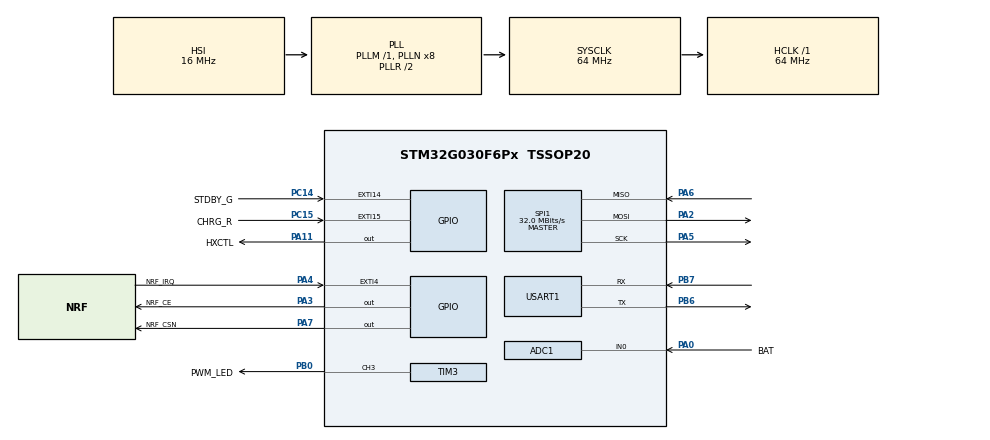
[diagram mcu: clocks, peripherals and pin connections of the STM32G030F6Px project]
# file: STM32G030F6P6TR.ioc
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ADC1.Channel-1\#ChannelRegularConversion=ADC_CHANNEL_0
ADC1.NbrOfConversionFlag=1
ADC1.Rank-1\#ChannelRegularConversion=1
ADC1.SamplingTime-1\#ChannelRegularConversion=ADC_SAMPLINGTIME_COMMON_1
ADC1.SelectedChannel=ADC_CHANNEL_0|ADC_CHANNEL_VREFINT
ADC1.master=1
Dma.Request0=USART1_RX
Dma.USART1_RX.0.Direction=DMA_PERIPH_TO_MEMORY
Dma.USART1_RX.0.EventEnable=DISABLE
Dma.USART1_RX.0.Instance=DMA1_Channel1
Dma.USART1_RX.0.MemDataAlignment=DMA_MDATAALIGN_BYTE
Dma.USART1_RX.0.MemInc=DMA_MINC_ENABLE
Dma.USART1_RX.0.Mode=DMA_CIRCULAR
Dma.USART1_RX.0.PeriphDataAlignment=DMA_PDATAALIGN_BYTE
Dma.USART1_RX.0.PeriphInc=DMA_PINC_DISABLE
Dma.USART1_RX.0.Polarity=HAL_DMAMUX_REQ_GEN_RISING
Dma.USART1_RX.0.Priority=DMA_PRIORITY_LOW
Dma.USART1_RX.0.RequestNumber=1
Dma.USART1_RX.0.SignalID=NONE
Dma.USART1_RX.0.SyncEnable=DISABLE
Dma.USART1_RX.0.SyncPolarity=HAL_DMAMUX_SYNC_NO_EVENT
Dma.USART1_RX.0.SyncRequestNumber=1
Dma.USART1_RX.0.SyncSignalID=NONE
FREERTOS.Tasks01=defaultTask,0,128,StartDefaultTask,Default,NULL,Dynamic,NULL,NULL
Mcu.Family=STM32G0
Mcu.Name=STM32G030F6Px
Mcu.Package=TSSOP20
NVIC.ADC1_IRQn=true\:3\:0\:false\:false\:true\:true\:true\:true\:true
NVIC.DMA1_Channel1_IRQn=true\:3\:0\:false\:false\:true\:true\:false\:true\:true
NVIC.EXTI4_15_IRQn=true\:3\:0\:false\:false\:true\:true\:true\:true\:true
NVIC.TIM16_IRQn=true\:3\:0\:false\:false\:true\:true\:true\:true\:true
NVIC.TIM17_IRQn=true\:3\:0\:false\:false\:true\:true\:true\:true\:true
NVIC.USART1_IRQn=true\:3\:0\:false\:false\:true\:true\:true\:true\:true
PA0.GPIO_Label=BAT
PA0.Mode=IN0
PA0.Signal=ADC1_IN0
PA11\ [PA9].GPIO_Label=HXCTL
PA11\ [PA9].GPIO_PuPd=GPIO_PULLDOWN
PA11\ [PA9].Signal=GPIO_Output
PA13.Mode=Serial_Wire
PA13.Signal=SYS_SWDIO
PA14-BOOT0.Mode=Serial_Wire
PA14-BOOT0.Signal=SYS_SWCLK
PA14-BOOT0__PA15.StandardMode=true
PA2.Mode=Full_Duplex_Master
PA2.Signal=SPI1_MOSI
PA3.GPIO_Label=NRF_CE
PA3.GPIO_PuPd=GPIO_PULLDOWN
PA3.Signal=GPIO_Output
PA4.GPIO_Label=NRF_IRQ
PA4.GPIO_PuPd=GPIO_PULLUP
PA4.Signal=GPXTI4
PA5.Mode=Full_Duplex_Master
PA5.Signal=SPI1_SCK
PA6.Mode=Full_Duplex_Master
PA6.Signal=SPI1_MISO
PA7.GPIO_Label=NRF_CSN
PA7.GPIO_ModeDefaultOutputPP=GPIO_MODE_OUTPUT_PP
PA7.GPIO_PuPd=GPIO_PULLUP
PA7.Signal=GPIO_Output
PB0.GPIO_Label=PWM_LED
PB0.Signal=S_TIM3_CH3
PB0__PB1__PB2__PA8.StandardMode=true
PB3__PB4__PB5__PB6.StandardMode=true
PB6.Mode=Asynchronous
PB6.Signal=USART1_TX
PB7.Mode=Asynchronous
PB7.Signal=USART1_RX
PB7__PB8.StandardMode=true
PC14-OSC32_IN\ (PC14).GPIO_Label=STDBY_G
PC14-OSC32_IN\ (PC14).GPIO_PuPd=GPIO_PULLUP
PC14-OSC32_IN\ (PC14).Signal=GPXTI14
PC14-OSC32_IN\ (PC14)__PB9.StandardMode=true
PC15-OSC32_OUT\ (PC15).GPIO_Label=CHRG_R
PC15-OSC32_OUT\ (PC15).GPIO_PuPd=GPIO_PULLUP
PC15-OSC32_OUT\ (PC15).Signal=GPXTI15
ProjectManager.HeapSize=0x200
ProjectManager.StackSize=0x400
ProjectManager.TargetToolchain=MDK-ARM V5.32
RCC.ADCFreq_Value=64000000
RCC.AHBFreq_Value=64000000
RCC.CortexFreq_Value=64000000
RCC.EXTERNAL_CLOCK_VALUE=12288000
RCC.HCLKFreq_Value=64000000
RCC.HSE_VALUE=8000000
RCC.HSI_VALUE=16000000
RCC.LSE_VALUE=32768
RCC.SYSCLKFreq_VALUE=64000000
RCC.SYSCLKSource=RCC_SYSCLKSOURCE_PLLCLK
RCC.VCOOutputFreq_Value=128000000
SH.S_TIM3_CH3.0=TIM3_CH3,PWM Generation3 CH3
SPI1.CalculateBaudRate=32.0 MBits/s
SPI1.Direction=SPI_DIRECTION_2LINES
SPI1.Mode=SPI_MODE_MASTER
SPI1.VirtualType=VM_MASTER
TIM16.Period=500-1
TIM16.Prescaler=64000-1
TIM17.Period=500-1
TIM17.Prescaler=64000-1
TIM3.Channel-PWM\ Generation3\ CH3=TIM_CHANNEL_3
TIM3.Period=1000
TIM3.Prescaler=17-1
TIM3.Pulse-PWM\ Generation3\ CH3=0
USART1.VirtualMode-Asynchronous=VM_ASYNC
VP_ADC1_Vref_Input.Mode=IN-Vrefint
VP_FREERTOS_VS_CMSIS_V1.Mode=CMSIS_V1
VP_TIM16_VS_ClockSourceINT.Mode=Enable_Timer
VP_TIM17_VS_ClockSourceINT.Mode=Enable_Timer
VP_TIM3_VS_ClockSourceINT.Mode=Internal
board=custom

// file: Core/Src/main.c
/* USER CODE BEGIN Header */
/**
  ******************************************************************************
  * @file           : main.c
  * @brief          : Main program body
  ******************************************************************************
  * @attention
  *
  * Copyright (c) 2023 STMicroelectronics.
  * All rights reserved.
  *
  * This software is licensed under terms that can be found in the LICENSE file
  * in the root directory of this software component.
  * If no LICENSE file comes with this software, it is provided AS-IS.
  *
  ******************************************************************************
  */
/* USER CODE END Header */
#include "main.h"
#include "cmsis_os.h"
#include "adc.h"
#include "dma.h"
#include "spi.h"
#include "tim.h"
#include "usart.h"
#include "gpio.h"

/* USER CODE BEGIN Includes */
#include "../common.h"
/* USER CODE END Includes */

void SystemClock_Config(void);
void MX_FREERTOS_Init(void);

int main(void)
{

  /* MCU Configuration--------------------------------------------------------*/

  /* Reset of all peripherals, Initializes the Flash interface and the Systick. */
  HAL_Init();

  /* Configure the system clock */
  SystemClock_Config();

  /* Initialize all configured peripherals */
  MX_GPIO_Init();
  MX_DMA_Init();
  MX_SPI1_Init();
  MX_USART1_UART_Init();
  MX_ADC1_Init();
  MX_TIM3_Init();
  MX_TIM16_Init();
  MX_TIM17_Init();

  /* Call init function for freertos objects (in freertos.c) */
  MX_FREERTOS_Init();

  /* Start scheduler */
  osKernelStart();

  /* We should never get here as control is now taken by the scheduler */
  /* Infinite loop */
  while (1)
  {

  }
}

void SystemClock_Config(void)
{
  RCC_OscInitTypeDef RCC_OscInitStruct = {0};
  RCC_ClkInitTypeDef RCC_ClkInitStruct = {0};

  /** Configure the main internal regulator output voltage
  */
  HAL_PWREx_ControlVoltageScaling(PWR_REGULATOR_VOLTAGE_SCALE1);

  /** Initializes the RCC Oscillators according to the specified parameters
  * in the RCC_OscInitTypeDef structure.
  */
  RCC_OscInitStruct.OscillatorType = RCC_OSCILLATORTYPE_HSI;
  RCC_OscInitStruct.HSIState = RCC_HSI_ON;
  RCC_OscInitStruct.HSIDiv = RCC_HSI_DIV1;
  RCC_OscInitStruct.HSICalibrationValue = RCC_HSICALIBRATION_DEFAULT;
  RCC_OscInitStruct.PLL.PLLState = RCC_PLL_ON;
  RCC_OscInitStruct.PLL.PLLSource = RCC_PLLSOURCE_HSI;
  RCC_OscInitStruct.PLL.PLLM = RCC_PLLM_DIV1;
  RCC_OscInitStruct.PLL.PLLN = 8;
  RCC_OscInitStruct.PLL.PLLP = RCC_PLLP_DIV2;
  RCC_OscInitStruct.PLL.PLLR = RCC_PLLR_DIV2;
  if (HAL_RCC_OscConfig(&RCC_OscInitStruct) != HAL_OK)
  {
    Error_Handler();
  }

  /** Initializes the CPU, AHB and APB buses clocks
  */
  RCC_ClkInitStruct.ClockType = RCC_CLOCKTYPE_HCLK|RCC_CLOCKTYPE_SYSCLK
                              |RCC_CLOCKTYPE_PCLK1;
  RCC_ClkInitStruct.SYSCLKSource = RCC_SYSCLKSOURCE_PLLCLK;
  RCC_ClkInitStruct.AHBCLKDivider = RCC_SYSCLK_DIV1;
  RCC_ClkInitStruct.APB1CLKDivider = RCC_HCLK_DIV1;

  if (HAL_RCC_ClockConfig(&RCC_ClkInitStruct, FLASH_LATENCY_2) != HAL_OK)
  {
    Error_Handler();
  }
}

/* USER CODE BEGIN 4 */
void HAL_TIM_PeriodElapsedCallback(TIM_HandleTypeDef *htim) {
	BaseType_t phpt;
	if (htim->Instance == TIM16) {
		ir_str.count++;
		if ( ir_str.checkRepet > 0 ) {//计数一次260us 110ms共计数 = 110*1000/260次 = 423.07次 100ms~120ms：384~461次
			ir_str.checkRepet++;
		}
	}
	if (htim->Instance == TIM17) {
//		if ( nrf_str.regSta==1 || nrf_str.regSta==4 ) {//注册/等待注册反馈
//			if ( nrf_str.regSta == 4 ) {
//				if ( nrf_str.reg4Num++ > 4 ) {
//					nrf_str.reg4Num = 0;
//					nrf_str.regSta = 1;
//					xTaskNotifyFromISR( nrf_control_taskHandle, 1U<<NRF_REGISTER_DEVICE, eSetBits, &phpt );
//				}
//			}
//		} else if ( nrf_str.regSta == 2 ) {//通信定时,10s发一次心跳
//			nrf_str.heartTime++;
//			if ( nrf_str.heartTime > 20 ) {
//				nrf_str.heartTime = 0;
//				nrf_str.regSta = 3;
//				xTaskNotifyFromISR( nrf_control_taskHandle, 1U<<NRF_HEARTBEAT, eSetBits, &phpt );//发送心跳
//			}
//		}

		//tim_clear_nrfreg();
	}
}
/* USER CODE END 4 */

void Error_Handler(void)
{
  __disable_irq();
  while (1)
  {
  }
}

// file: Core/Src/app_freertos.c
/* USER CODE BEGIN Header */
/**
  ******************************************************************************
  * File Name          : app_freertos.c
  * Description        : Code for freertos applications
  ******************************************************************************
  * @attention
  *
  * Copyright (c) 2023 STMicroelectronics.
  * All rights reserved.
  *
  * This software is licensed under terms that can be found in the LICENSE file
  * in the root directory of this software component.
  * If no LICENSE file comes with this software, it is provided AS-IS.
  *
  ******************************************************************************
  */
/* USER CODE END Header */

#include "FreeRTOS.h"
#include "task.h"
#include "main.h"
#include "cmsis_os.h"

/* USER CODE BEGIN Includes */
#include "../common.h"
/* USER CODE END Includes */

/* USER CODE BEGIN Variables */
TaskHandle_t nrf_control_taskHandle;
TaskHandle_t pwm_taskHandle;
TaskHandle_t debug_taskHandle;
TaskHandle_t ir_taskHandle;

/* USER CODE END Variables */
osThreadId defaultTaskHandle;

/* USER CODE BEGIN FunctionPrototypes */
//void debugTaskFun(void const * argument);
void nrf_control_taskFun( void const * argument );
void pwm_taskFun( void const * argument );
void debug_taskFun( void const * argument );
void ir_taskFun( void const * argument );
/* USER CODE END FunctionPrototypes */

void StartDefaultTask(void const * argument);

void MX_FREERTOS_Init(void); /* (MISRA C 2004 rule 8.1) */

void MX_FREERTOS_Init(void) {

  /* Create the thread(s) */
  /* definition and creation of defaultTask */
  osThreadDef(defaultTask, StartDefaultTask, osPriorityNormal, 0, 128);
  defaultTaskHandle = osThreadCreate(osThread(defaultTask), NULL);

  /* USER CODE BEGIN RTOS_THREADS */
  /* add threads, ... */
	osThreadDef(nrf_control_task, nrf_control_taskFun, osPriorityNormal, 0, nrf_control_taskSize);
	nrf_control_taskHandle = osThreadCreate(osThread(nrf_control_task), NULL);

	osThreadDef(pwm_task, pwm_taskFun, osPriorityNormal, 0, pwm_taskSize);
	pwm_taskHandle = osThreadCreate(osThread(pwm_task), NULL);

//	osThreadDef(debug_task, debug_taskFun, osPriorityNormal, 0, debug_taskSize);
//	debug_taskHandle = osThreadCreate(osThread(debug_task), NULL);

	osThreadDef(ir_task, ir_taskFun, osPriorityNormal, 0, ir_taskSize);
	ir_taskHandle = osThreadCreate(osThread(ir_task), NULL);

  /* USER CODE END RTOS_THREADS */

}

void StartDefaultTask(void const * argument)
{
  /* USER CODE BEGIN StartDefaultTask */
	read_data_from_flash();
	getSnByDeviceId_setClientId();
	xTaskNotify( nrf_control_taskHandle, 1U<<NRF_INIT_EVENT, eSetBits );
	vTaskDelay(100);
	xTaskNotify( nrf_control_taskHandle, 1U<<NRF_REGISTER_DEVICE, eSetBits );
	//xTaskNotify( debug_taskHandle, 1U<<DEBUG_INIT, eSetBits );
	HAL_TIM_Base_Start_IT( &htim17 );
	HAL_TIM_Base_Start( &htim17 );
	HAL_TIM_Base_Start_IT( &htim16 );
	HAL_TIM_Base_Start( &htim16 );
	__HAL_TIM_SET_COUNTER( &htim16, 0 );
  /* Infinite loop */
  for(;;) {
	vTaskDelete( defaultTaskHandle );
  }
  /* USER CODE END StartDefaultTask */
}

/* USER CODE BEGIN Application */
void nrf_control_taskFun( void const * argument ) {
	uint32_t newBits, oldBits = 0;
	for ( ;; ) {
		xTaskNotifyWait( pdFALSE, portMAX_DELAY, &newBits, portMAX_DELAY );
		oldBits |= newBits;
		if ( oldBits & (1U<<NRF_INIT_EVENT) ) {
			oldBits &=~ (1U<<NRF_INIT_EVENT);
			nrf_init();
		}
		if ( oldBits & (1U<<NRF_SEND_DATA) ) {
			oldBits &=~ (1U<<NRF_SEND_DATA);
			nrf_send_data();
		}
		if ( oldBits & (1U<<NRF_PARSE_DATA) ) {
			oldBits &=~ (1U<<NRF_PARSE_DATA);
			nrf_parse_data();
		}
		if ( oldBits & (1U<<NRF_REGISTER_DEVICE) ) {
			oldBits &=~ (1U<<NRF_REGISTER_DEVICE);
			nrf_register_device();
		}
		if ( oldBits & (1U<<NRF_HEARTBEAT) ) {
			oldBits &=~ (1U<<NRF_HEARTBEAT);
			nrf_send_heartbeat();
		}
		if ( oldBits & (1U<<SEND_KEY_DOWN) ) {
			oldBits &=~ (1U<<SEND_KEY_DOWN);
			nrf_push_data("按键按下");
		}
	}
}

void pwm_taskFun( void const * argument ) {
	uint32_t newBits, oldBits = 0;
	for ( ;; ) {
		xTaskNotifyWait( pdFALSE, portMAX_DELAY, &newBits, portMAX_DELAY );
		oldBits |= newBits;
		if ( oldBits & (1U<<POWER_ON) ) {// power_on
			oldBits &=~ (1U<<POWER_ON);
			pwm_str.maxBtnPer = 1000;
			pwm_str.lightSta = 0;
			__HAL_TIM_SetCompare(&htim3, TIM_CHANNEL_3, 0 );
			HX_ON();
			HAL_TIM_PWM_Start(&htim3, TIM_CHANNEL_3);
		}
		if ( oldBits & (1U<<POWER_OFF) ) {// power_off
			oldBits &=~ (1U<<POWER_OFF);
			HX_OFF();
			__HAL_TIM_SetCompare(&htim3, TIM_CHANNEL_3, 0 );
		}
		if ( oldBits & (1U<<LED_ON) ) {// led_on
			oldBits &=~ (1U<<LED_ON);
			led_turn_on( pwm_str.pulse );
		}
		if ( oldBits & (1U<<LED_OFF) ) {// led_off
			oldBits &=~ (1U<<LED_OFF);
			led_turn_off( pwm_str.pulse );
		}
		if ( oldBits & (1U<<PWM_FLASHING) ) {// pwm_flashing
			oldBits &=~ (1U<<PWM_FLASHING);
			pwm_flashing();
		}
		if ( oldBits & (1U<<LIGHT_ENHANCE) ) {//单亮调光增强
			oldBits &=~ (1U<<LIGHT_ENHANCE);
			pwm_str.pulse = (pwm_str.pulse+50)>pwm_str.maxBtnPer ? pwm_str.maxBtnPer : (pwm_str.pulse+50);
			pwm_set_speed( pwm_str.pulse );
			pwm_str.lightSta = 1;
		}
		if ( oldBits & (1U<<LIGHT_WEAKEN) ) {//单亮调光减弱
			oldBits &=~ (1U<<LIGHT_WEAKEN);
			pwm_str.pulse = (pwm_str.pulse-50)<0 ? 0 : (pwm_str.pulse-50);
			pwm_set_speed( pwm_str.pulse );
			pwm_str.lightSta = 1;
		}

	}
}
void debug_taskFun( void const * argument ) {
	uint32_t newBits, oldBits = 0;
	for ( ;; ) {
		xTaskNotifyWait( pdFALSE, portMAX_DELAY, &newBits, portMAX_DELAY );
		oldBits |= newBits;
		if ( oldBits & (1U<<DEBUG_INIT) ) {
			oldBits &=~ (1U<<DEBUG_INIT);
			debug_init();
		}
		if ( oldBits & (1U<<PARSE_DATA) ) {
			oldBits &=~ (1U<<PARSE_DATA);
			debug_parse_data_fun();
		}
	}
}
void ir_taskFun( void const * argument ) {
	uint32_t newBits, oldBits = 0;
	for ( ;; ) {
		xTaskNotifyWait( pdFALSE, portMAX_DELAY, &newBits, portMAX_DELAY );
		oldBits |= newBits;
		if ( oldBits & (1U<<IR_DATA_PARSE) ) {
			oldBits &=~ (1U<<IR_DATA_PARSE);
			ir_str.rxDr = 0;
			if ( ir_data_parse() == 0 ) {
				//printf("接收到用户码: 0x%.2X 0x%.2X  ", ir_str.irData[0], ir_str.irData[1]);
				//printf("接收到键值码: 0x%.2X 0x%.2X\r\n", ir_str.irData[2], ir_str.irData[3]);
				execute_led();
			} else {/*printf("ErrCode\r\n");*/}
		}
	}
}

/* USER CODE END Application */
